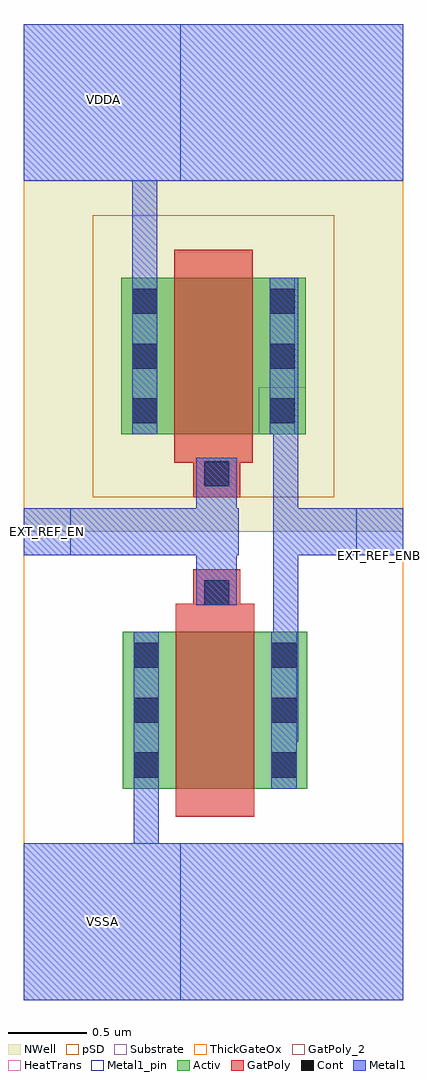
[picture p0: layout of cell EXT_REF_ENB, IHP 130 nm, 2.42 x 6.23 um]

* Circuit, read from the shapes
.subckt EXT_REF_ENB EXT_REF_EN VDDA VSSA
XM1 n1 EXT_REF_EN VSSA VSUBS sg13_hv_nmos w=1u l=0.5u
XM2 n1 EXT_REF_EN VDDA n2 sg13_hv_pmos w=1u l=0.5u
.ends

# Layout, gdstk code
import gdstk
lib = gdstk.Library(unit=1e-6, precision=1e-09)
def R(c, l, rs):  # rectangles x0, y0, x1, y1
    for r in rs: c.add(gdstk.rectangle(r[:2], r[2:], *l))
def A(c, l, x, y, w, h, nx, ny, dx, dy):  # array of equal rectangles
    R(c, l, [(x+i*dx, y+j*dy, x+i*dx+w, y+j*dy+h) for i in range(nx) for j in range(ny)])
Activ = (1, 0)
GatPoly = (5, 0)
GatPoly_2 = (5, 2)
Cont = (6, 0)
Metal1 = (8, 0)
Metal1_pin = (8, 2)
pSD = (14, 0)
NWell = (31, 0)
Substrate = (40, 0)
ThickGateOx = (44, 0)
HeatTrans = (51, 0)

pmoshv = lib.new_cell('pmosHV')
R(pmoshv, Activ, [(0,0,0.3,0.3), (0,0,1.18,1), (0.88,0,1.18,0.3)])
R(pmoshv, GatPoly, [(0.34,-0.18,0.84,1.18)])
R(pmoshv, GatPoly_2, [(0.34,-0.18,0.84,1.18)])
A(pmoshv, Cont, 0.07, 0.07, 0.16, 0.16, 1, 3, 0, 0.35)
A(pmoshv, Cont, 0.95, 0.07, 0.16, 0.16, 1, 3, 0, 0.35)
R(pmoshv, Metal1, [(0.07,0,0.23,1), (0.95,0,1.11,1)])
R(pmoshv, Metal1_pin, [(0.07,0,0.23,1), (0.95,0,1.11,1)])
R(pmoshv, pSD, [(-0.18,-0.4,1.36,1.4)])
R(pmoshv, NWell, [(-0.62,-0.62,1.8,1.62)])
R(pmoshv, Substrate, [(0.88,0,1.18,0.3)])
R(pmoshv, ThickGateOx, [(-0.62,-0.62,1.8,1.62)])
R(pmoshv, HeatTrans, [(0.34,-0.18,0.84,1.18)])
pmoshv.add(gdstk.Label('pmosHV', (0.59,0.5), layer=63, texttype=0))
pmoshv.add(gdstk.Label('pmos', (0.59,0.5), layer=51, texttype=0))

viagpcont_m1 = lib.new_cell('ViaGPCont_M1')
R(viagpcont_m1, GatPoly, [(-0.15,-0.15,0.15,0.15)])
R(viagpcont_m1, Cont, [(-0.08,-0.08,0.08,0.08)])
R(viagpcont_m1, Metal1, [(-0.13,-0.08,0.13,0.08)])

nmoshv = lib.new_cell('nmosHV')
R(nmoshv, Activ, [(0,0,0.3,0.3), (0,0,1.18,1), (0.88,0,1.18,0.3)])
R(nmoshv, GatPoly, [(0.34,-0.18,0.84,1.18)])
R(nmoshv, GatPoly_2, [(0.34,-0.18,0.84,1.18)])
A(nmoshv, Cont, 0.07, 0.07, 0.16, 0.16, 1, 3, 0, 0.35)
A(nmoshv, Cont, 0.95, 0.07, 0.16, 0.16, 1, 3, 0, 0.35)
R(nmoshv, Metal1, [(0.07,0,0.23,1), (0.95,0,1.11,1)])
R(nmoshv, Metal1_pin, [(0.07,0,0.23,1), (0.95,0,1.11,1)])
R(nmoshv, ThickGateOx, [(-0.27,-0.52,1.45,1.52)])
R(nmoshv, HeatTrans, [(0.34,-0.18,0.84,1.18)])
nmoshv.add(gdstk.Label('nmosHV', (0.59,0.5), layer=63, texttype=0))
nmoshv.add(gdstk.Label('nmosHV', (0.59,0.5), layer=51, texttype=0))

ext_ref_enb = lib.new_cell('EXT_REF_ENB')
R(ext_ref_enb, Metal1_pin, [(0,0,1,1), (0,2.84,0.3,3.14), (2.12,2.84,2.42,3.14), (0,5.23,1,6.23)])
R(ext_ref_enb, ThickGateOx, [(0,0,2.42,6.23)])
ext_ref_enb.add(gdstk.FlexPath([(0.77,3.61),(0.77,6.23)], 0.16, ends="flush", simple_path=True, layer=8, datatype=0))  # Metal1
ext_ref_enb.add(gdstk.FlexPath([(0,0.5),(2.42,0.5)], 1, ends="flush", simple_path=True, layer=8, datatype=0))  # Metal1
ext_ref_enb.add(gdstk.FlexPath([(0.78,2.25),(0.78,0.23)], 0.16, ends="flush", simple_path=True, layer=8, datatype=0))  # Metal1
ext_ref_enb.add(gdstk.FlexPath([(1.67,1.65),(1.67,4.61)], 0.16, ends="flush", simple_path=True, layer=8, datatype=0))  # Metal1
ext_ref_enb.add(gdstk.FlexPath([(0,2.99),(1.37,2.99)], 0.3, ends="flush", simple_path=True, layer=8, datatype=0))  # Metal1
ext_ref_enb.add(gdstk.FlexPath([(2.42,2.99),(1.59,2.99)], 0.3, ends="flush", simple_path=True, layer=8, datatype=0))  # Metal1
ext_ref_enb.add(gdstk.FlexPath([(1.23,2.59),(1.23,3.46)], 0.26, ends="flush", simple_path=True, layer=8, datatype=0))  # Metal1
ext_ref_enb.add(gdstk.FlexPath([(0,5.73),(2.42,5.73)], 1, ends="flush", simple_path=True, layer=8, datatype=0))  # Metal1
r = gdstk.Reference(pmoshv, (0.62,3.61)); r.repetition = gdstk.Repetition(1, 1, v1=(0,0), v2=(0,0)); ext_ref_enb.add(r)
r = gdstk.Reference(viagpcont_m1, (1.23,3.36)); r.repetition = gdstk.Repetition(1, 1, v1=(0,0), v2=(0,0)); ext_ref_enb.add(r)
r = gdstk.Reference(viagpcont_m1, (1.23,2.6)); r.repetition = gdstk.Repetition(1, 1, v1=(0,0), v2=(0,0)); ext_ref_enb.add(r)
r = gdstk.Reference(nmoshv, (0.63,1.35)); r.repetition = gdstk.Repetition(1, 1, v1=(0,0), v2=(0,0)); ext_ref_enb.add(r)
ext_ref_enb.add(gdstk.Label('VSSA', (0.5,0.5), layer=8, texttype=25))
ext_ref_enb.add(gdstk.Label('VDDA', (0.51,5.75), layer=8, texttype=25))
ext_ref_enb.add(gdstk.Label('EXT_REF_EN', (0.15,2.99), layer=8, texttype=25))
ext_ref_enb.add(gdstk.Label('EXT_REF_ENB', (2.27,2.84), layer=8, texttype=25))

lib.write_gds('EXT_REF_ENB.gds')
